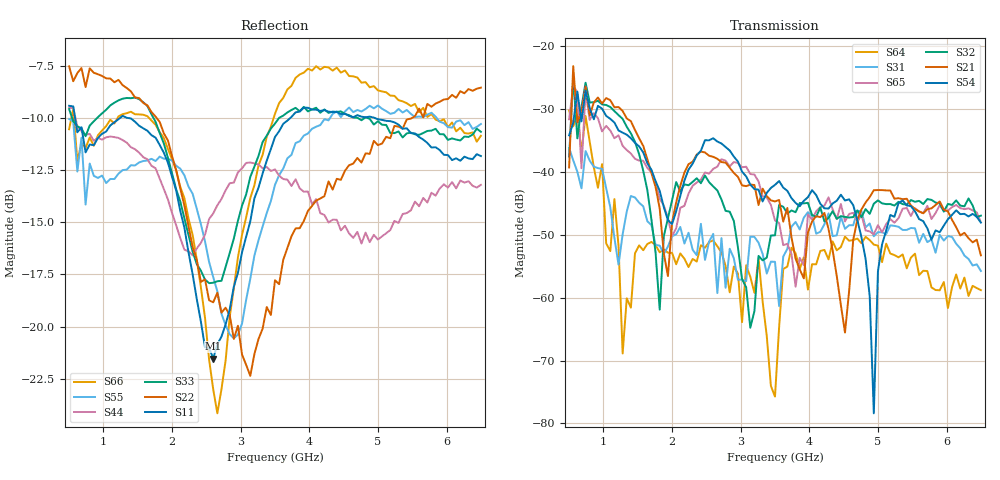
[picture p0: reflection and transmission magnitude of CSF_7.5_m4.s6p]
!Keysight Technologies,M9804A,MY58100912,A.14.10.03
!Date: Thursday, April 27, 2023 10:28:33
!Correction: S11(C  6-Port  )
!S12(C  6-Port  )
!S13(C  6-Port  )
!S14(C  6-Port  )
!S15(C  6-Port  )
!S16(C  6-Port  )
!S21(C  6-Port  )
!S22(C  6-Port  )
!S23(C  6-Port  )
!S24(C  6-Port  )
!S25(C  6-Port  )
!S26(C  6-Port  )
!S31(C  6-Port  )
!S32(C  6-Port  )
!S33(C  6-Port  )
!S34(C  6-Port  )
!S35(C  6-Port  )
!S36(C  6-Port  )
!S41(C  6-Port  )
!S42(C  6-Port  )
!S43(C  6-Port  )
!S44(C  6-Port  )
!S45(C  6-Port  )
!S46(C  6-Port  )
!S51(C  6-Port  )
!S52(C  6-Port  )
!S53(C  6-Port  )
!S54(C  6-Port  )
!S55(C  6-Port  )
!S56(C  6-Port  )
!S61(C  6-Port  )
!S62(C  6-Port  )
!S63(C  6-Port  )
!S64(C  6-Port  )
!S65(C  6-Port  )
!S66(C  6-Port  )
!S6P File: Measurement: :
# Hz S  RI  R 50
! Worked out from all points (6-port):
!   101 points, 500 MHz to 6.5 GHz, reference 50 ohm
!   strongest paths, dB at 500 MHz, 2 GHz, 3.5 GHz, 5 GHz, 6.5 GHz:
!     S54: -34.2, -48.3, -42.1, -55.8, -48.1
!     S21: -39.3, -48.0, -44.7, -42.9, -53.3
!     S32: -37.6, -44.5, -50.1, -44.6, -47.0
!     S65: -31.7, -50.2, -47.7, -48.5, -48.0
!     S31: -36.2, -50.3, -54.3, -49.6, -55.8
!     S64: -30.3, -52.9, -75.7, -51.7, -58.8
!   lowest |S11| = -21.5 dB at 2.6 GHz (marker M1), VSWR 1.18, Z = 42.5 + j2.06 ohm
!   |S11| at or under -10 dB: 587.6 MHz to 1.236 GHz (648 MHz wide, 71.1 % of centre); 1.39 GHz to 3.717 GHz (2.327 GHz wide, 91.1 % of centre); 4.966 GHz to end of sweep
